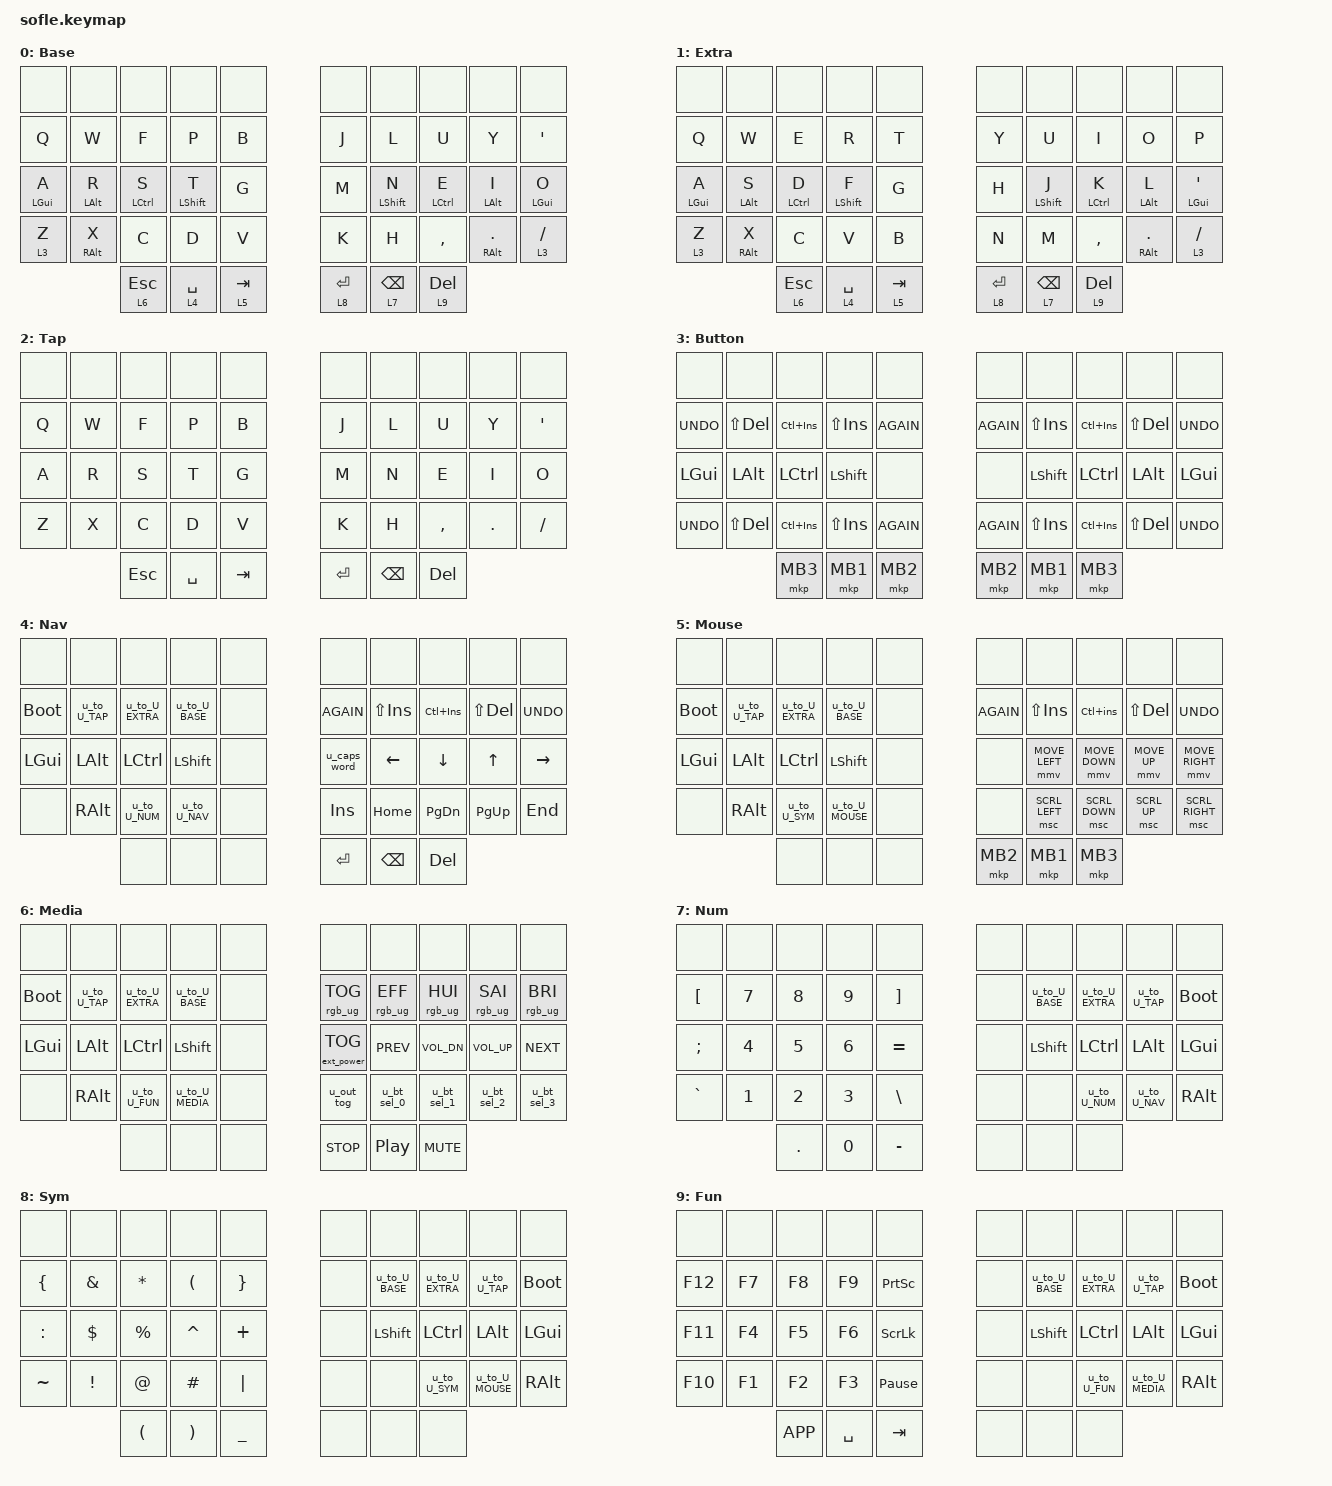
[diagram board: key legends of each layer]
/*
 * ZMK Keymap Configuration
 *
 * This file has been rewritten for clarity, formatting, and includes comments
 * to explain the various components of the configuration.
 */

#include <behaviors.dtsi>
#include <behaviors/mouse_keys.dtsi>
#include <dt-bindings/zmk/keys.h>
#include <dt-bindings/zmk/bt.h>
#include <dt-bindings/zmk/rgb.h>
#include <dt-bindings/zmk/outputs.h>
#include <dt-bindings/zmk/ext_power.h>
#include <dt-bindings/zmk/pointing.h>

/ {
  keymap {
    compatible = "zmk,keymap";

    /* Base Layer: Default typing layer */
    BASE {
      display-name = "Base";
      bindings = <
        &none &none &none &none &none        &none &none &none &none &none
        &kp Q &kp W &kp F &kp P &kp B        &kp J &kp L &kp U &kp Y &kp SQT
        &u_mt LGUI A &u_mt LALT R &u_mt LCTRL S &u_mt LSHFT T &kp G        &kp M &u_mt LSHFT N &u_mt LCTRL E &u_mt LALT I &u_mt LGUI O
        &u_lt 3 Z &u_mt RALT X &kp C &kp D &kp V        &kp K &kp H &kp COMMA &u_mt RALT DOT &u_lt 3 SLASH
                          &u_lt 6 ESC &u_lt 4 SPACE &u_lt 5 TAB        &u_lt 8 RET &u_lt 7 BSPC &u_lt 9 DEL
      >;
    };

    /* Extra Layer */
    EXTRA {
      display-name = "Extra";
      bindings = <
        &none &none &none &none &none        &none &none &none &none &none
        &kp Q &kp W &kp E &kp R &kp T        &kp Y &kp U &kp I &kp O &kp P
        &u_mt LGUI A &u_mt LALT S &u_mt LCTRL D &u_mt LSHFT F &kp G        &kp H &u_mt LSHFT J &u_mt LCTRL K &u_mt LALT L &u_mt LGUI SQT
        &u_lt 3 Z &u_mt RALT X &kp C &kp V &kp B        &kp N &kp M &kp COMMA &u_mt RALT DOT &u_lt 3 SLASH
                          &u_lt 6 ESC &u_lt 4 SPACE &u_lt 5 TAB        &u_lt 8 RET &u_lt 7 BSPC &u_lt 9 DEL
      >;
    };

    /* Tap Layer: Keys without hold-tap behaviors */
    TAP {
      display-name = "Tap";
      bindings = <
        &none &none &none &none &none        &none &none &none &none &none
        &kp Q &kp W &kp F &kp P &kp B        &kp J &kp L &kp U &kp Y &kp SQT
        &kp A &kp R &kp S &kp T &kp G        &kp M &kp N &kp E &kp I &kp O
        &kp Z &kp X &kp C &kp D &kp V        &kp K &kp H &kp COMMA &kp DOT &kp SLASH
                          &kp ESC &kp SPACE &kp TAB        &kp RET &kp BSPC &kp DEL
      >;
    };

    /* Button Layer: Mouse buttons and editing keys */
    BUTTON {
      display-name = "Button";
      bindings = <
        &none &none &none &none &none        &none &none &none &none &none
        &kp K_UNDO &kp LS(DEL) &kp LC(INS) &kp LS(INS) &kp K_AGAIN        &kp K_AGAIN &kp LS(INS) &kp LC(INS) &kp LS(DEL) &kp K_UNDO
        &kp LGUI &kp LALT &kp LCTRL &kp LSHFT &none        &none &kp LSHFT &kp LCTRL &kp LALT &kp LGUI
        &kp K_UNDO &kp LS(DEL) &kp LC(INS) &kp LS(INS) &kp K_AGAIN        &kp K_AGAIN &kp LS(INS) &kp LC(INS) &kp LS(DEL) &kp K_UNDO
                          &mkp MB3 &mkp MB1 &mkp MB2        &mkp MB2 &mkp MB1 &mkp MB3
      >;
    };

    /* Nav Layer: Navigation and layer switching */
    NAV {
      display-name = "Nav";
      bindings = <
        &none &none &none &none &none        &none &none &none &none &none
        &bootloader &u_to_U_TAP &u_to_U_EXTRA &u_to_U_BASE &none        &kp K_AGAIN &kp LS(INS) &kp LC(INS) &kp LS(DEL) &kp K_UNDO
        &kp LGUI &kp LALT &kp LCTRL &kp LSHFT &none        &u_caps_word &kp LEFT &kp DOWN &kp UP &kp RIGHT
        &none &kp RALT &u_to_U_NUM &u_to_U_NAV &none        &kp INS &kp HOME &kp PG_DN &kp PG_UP &kp END
                                &none &none &none        &kp RET &kp BSPC &kp DEL
      >;
    };

    /* Mouse Layer: Mouse movement and scrolling */
    MOUSE {
      display-name = "Mouse";
      bindings = <
        &none &none &none &none &none        &none &none &none &none &none
        &bootloader &u_to_U_TAP &u_to_U_EXTRA &u_to_U_BASE &none        &kp K_AGAIN &kp LS(INS) &kp LC(ins) &kp LS(DEL) &kp K_UNDO
        &kp LGUI &kp LALT &kp LCTRL &kp LSHFT &none        &none &mmv MOVE_LEFT &mmv MOVE_DOWN &mmv MOVE_UP &mmv MOVE_RIGHT
        &none &kp RALT &u_to_U_SYM &u_to_U_MOUSE &none        &none &msc SCRL_LEFT &msc SCRL_DOWN &msc SCRL_UP &msc SCRL_RIGHT
                                &none &none &none        &mkp MB2 &mkp MB1 &mkp MB3
      >;
    };

    /* Media Layer: Media keys, RGB, and Bluetooth controls */
    MEDIA {
      display-name = "Media";
      bindings = <
        &none &none &none &none &none        &none &none &none &none &none
        &bootloader &u_to_U_TAP &u_to_U_EXTRA &u_to_U_BASE &none        &rgb_ug RGB_TOG &rgb_ug RGB_EFF &rgb_ug RGB_HUI &rgb_ug RGB_SAI &rgb_ug RGB_BRI
        &kp LGUI &kp LALT &kp LCTRL &kp LSHFT &none        &ext_power EP_TOG &kp C_PREV &kp C_VOL_DN &kp C_VOL_UP &kp C_NEXT
        &none &kp RALT &u_to_U_FUN &u_to_U_MEDIA &none        &u_out_tog &u_bt_sel_0 &u_bt_sel_1 &u_bt_sel_2 &u_bt_sel_3
                                &none &none &none        &kp C_STOP &kp C_PP &kp C_MUTE
      >;
    };

    /* Num Layer: Number pad */
    NUM {
      display-name = "Num";
      bindings = <
        &none &none &none &none &none        &none &none &none &none &none
        &kp LBKT &kp N7 &kp N8 &kp N9 &kp RBKT        &none &u_to_U_BASE &u_to_U_EXTRA &u_to_U_TAP &bootloader
        &kp SEMI &kp N4 &kp N5 &kp N6 &kp EQUAL        &none &kp LSHFT &kp LCTRL &kp LALT &kp LGUI
        &kp GRAVE &kp N1 &kp N2 &kp N3 &kp BSLH        &none &none &u_to_U_NUM &u_to_U_NAV &kp RALT
                                &kp DOT &kp N0 &kp MINUS        &none &none &none
      >;
    };

    /* Symbol Layer */
    SYM {
      display-name = "Sym";
      bindings = <
        &none &none &none &none &none        &none &none &none &none &none
        &kp LBRC &kp AMPS &kp ASTRK &kp LPAR &kp RBRC        &none &u_to_U_BASE &u_to_U_EXTRA &u_to_U_TAP &bootloader
        &kp COLON &kp DLLR &kp PRCNT &kp CARET &kp PLUS        &none &kp LSHFT &kp LCTRL &kp LALT &kp LGUI
        &kp TILDE &kp EXCL &kp AT &kp HASH &kp PIPE        &none &none &u_to_U_SYM &u_to_U_MOUSE &kp RALT
                                &kp LPAR &kp RPAR &kp UNDER        &none &none &none
      >;
    };

    /* Function Key Layer */
    FUN {
      display-name = "Fun";
      bindings = <
        &none &none &none &none &none        &none &none &none &none &none
        &kp F12 &kp F7 &kp F8 &kp F9 &kp PSCRN        &none &u_to_U_BASE &u_to_U_EXTRA &u_to_U_TAP &bootloader
        &kp F11 &kp F4 &kp F5 &kp F6 &kp SLCK        &none &kp LSHFT &kp LCTRL &kp LALT &kp LGUI
        &kp F10 &kp F1 &kp F2 &kp F3 &kp PAUSE_BREAK        &none &none &u_to_U_FUN &u_to_U_MEDIA &kp RALT
                                &kp K_APP &kp SPACE &kp TAB        &none &none &none
      >;
    };
  };

  // --- Custom Behaviors ---
  behaviors {
    // Hold-Tap: Modifier on Hold, Key on Tap
    u_mt: u_mt {
      compatible = "zmk,behavior-hold-tap";
      #binding-cells = <2>;
      tapping-term-ms = <200>;
      flavor = "tap-preferred"; // Prefers tap action in ambiguous cases
      bindings = <&kp>, <&kp>;
    };

    // Hold-Tap: Layer on Hold, Key on Tap
    u_lt: u_lt {
      compatible = "zmk,behavior-hold-tap";
      #binding-cells = <2>;
      tapping-term-ms = <200>;
      flavor = "tap-preferred";
      bindings = <&mo>, <&kp>;
    };

    // Mod-Morph for Bluetooth profile selection.
    // Default: Select profile. Shift + Key: Clear profile.
    u_bt_sel_0: u_bt_sel_0 { compatible = "zmk,behavior-mod-morph"; #binding-cells = <0>; bindings = <&bt BT_SEL 0>, <&u_macro_u_bt_sel_0>; mods = <(MOD_LSFT|MOD_RSFT)>; };
    u_bt_sel_1: u_bt_sel_1 { compatible = "zmk,behavior-mod-morph"; #binding-cells = <0>; bindings = <&bt BT_SEL 1>, <&u_macro_u_bt_sel_1>; mods = <(MOD_LSFT|MOD_RSFT)>; };
    u_bt_sel_2: u_bt_sel_2 { compatible = "zmk,behavior-mod-morph"; #binding-cells = <0>; bindings = <&bt BT_SEL 2>, <&u_macro_u_bt_sel_2>; mods = <(MOD_LSFT|MOD_RSFT)>; };
    u_bt_sel_3: u_bt_sel_3 { compatible = "zmk,behavior-mod-morph"; #binding-cells = <0>; bindings = <&bt BT_SEL 3>, <&u_macro_u_bt_sel_3>; mods = <(MOD_LSFT|MOD_RSFT)>; };
    u_bt_sel_4: u_bt_sel_4 { compatible = "zmk,behavior-mod-morph"; #binding-cells = <0>; bindings = <&bt BT_SEL 4>, <&u_macro_u_bt_sel_4>; mods = <(MOD_LSFT|MOD_RSFT)>; };

    // Mod-Morph for Output selection.
    // Default: Toggle output. Shift + Key: Switch to USB.
    u_out_tog: u_out_tog { compatible = "zmk,behavior-mod-morph"; #binding-cells = <0>; bindings = <&out OUT_TOG>, <&out OUT_USB>; mods = <(MOD_LSFT|MOD_RSFT)>; };

    // Mod-Morph for Caps Word.
    // Default: Caps Word. Shift + Key: Caps Lock.
    u_caps_word: u_caps_word { compatible = "zmk,behavior-mod-morph"; #binding-cells = <0>; bindings = <&caps_word>, <&kp CAPS>; mods = <(MOD_LSFT|MOD_RSFT)>; };

    // Tap-Dance for layer switching.
    // Requires a double tap to activate, preventing accidental layer changes.
    u_to_U_BASE:  u_to_U_BASE  { compatible = "zmk,behavior-tap-dance"; #binding-cells = <0>; tapping-term-ms = <200>; bindings = <&none>, <&to 0>; };
    u_to_U_EXTRA: u_to_U_EXTRA { compatible = "zmk,behavior-tap-dance"; #binding-cells = <0>; tapping-term-ms = <200>; bindings = <&none>, <&to 1>; };
    u_to_U_TAP:   u_to_U_TAP   { compatible = "zmk,behavior-tap-dance"; #binding-cells = <0>; tapping-term-ms = <200>; bindings = <&none>, <&to 2>; };
    u_to_U_NAV:   u_to_U_NAV   { compatible = "zmk,behavior-tap-dance"; #binding-cells = <0>; tapping-term-ms = <200>; bindings = <&none>, <&to 4>; };
    u_to_U_MOUSE: u_to_U_MOUSE { compatible = "zmk,behavior-tap-dance"; #binding-cells = <0>; tapping-term-ms = <200>; bindings = <&none>, <&to 5>; };
    u_to_U_MEDIA: u_to_U_MEDIA { compatible = "zmk,behavior-tap-dance"; #binding-cells = <0>; tapping-term-ms = <200>; bindings = <&none>, <&to 6>; };
    u_to_U_NUM:   u_to_U_NUM   { compatible = "zmk,behavior-tap-dance"; #binding-cells = <0>; tapping-term-ms = <200>; bindings = <&none>, <&to 7>; };
    u_to_U_SYM:   u_to_U_SYM   { compatible = "zmk,behavior-tap-dance"; #binding-cells = <0>; tapping-term-ms = <200>; bindings = <&none>, <&to 8>; };
    u_to_U_FUN:   u_to_U_FUN   { compatible = "zmk,behavior-tap-dance"; #binding-cells = <0>; tapping-term-ms = <200>; bindings = <&none>, <&to 9>; };
  };

  // --- Macros for Mod-Morph Behaviors ---
  macros {
    u_macro_u_bt_sel_0: u_macro_u_bt_sel_0 { compatible = "zmk,behavior-macro"; #binding-cells = <0>; wait-ms = <0>; bindings = <&bt BT_SEL 0 &bt BT_CLR>; };
    u_macro_u_bt_sel_1: u_macro_u_bt_sel_1 { compatible = "zmk,behavior-macro"; #binding-cells = <0>; wait-ms = <0>; bindings = <&bt BT_SEL 1 &bt BT_CLR>; };
    u_macro_u_bt_sel_2: u_macro_u_bt_sel_2 { compatible = "zmk,behavior-macro"; #binding-cells = <0>; wait-ms = <0>; bindings = <&bt BT_SEL 2 &bt BT_CLR>; };
    u_macro_u_bt_sel_3: u_macro_u_bt_sel_3 { compatible = "zmk,behavior-macro"; #binding-cells = <0>; wait-ms = <0>; bindings = <&bt BT_SEL 3 &bt BT_CLR>; };
    u_macro_u_bt_sel_4: u_macro_u_bt_sel_4 { compatible = "zmk,behavior-macro"; #binding-cells = <0>; wait-ms = <0>; bindings = <&bt BT_SEL 4 &bt BT_CLR>; };
  };
};

// --- Mouse Key Configuration ---
&mmv {
  acceleration-exponent = <1>;
  time-to-max-speed-ms = <1500>;
  delay-ms = <0>;
};
